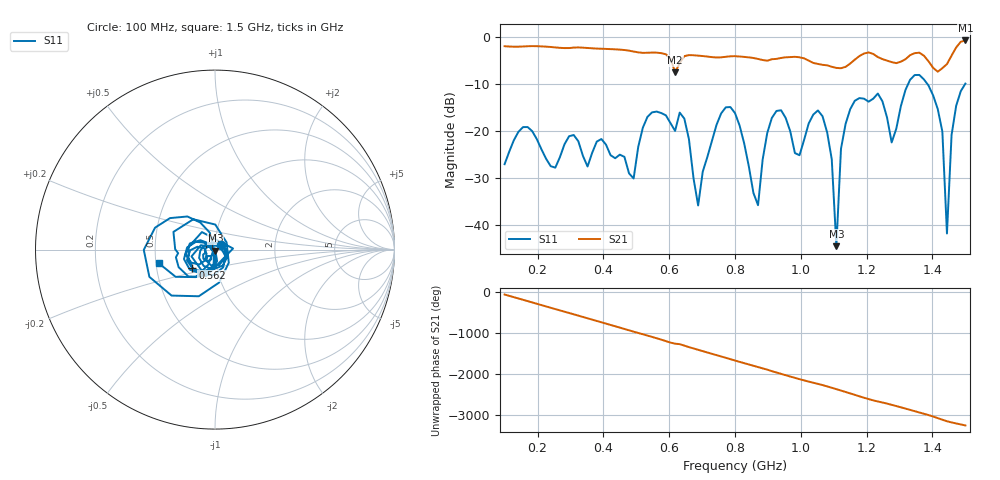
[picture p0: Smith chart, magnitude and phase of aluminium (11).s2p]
! NanoVNA-App
! Date: 2025-09-25 14:55:21
! Start: 100MHz Stop: 1,5GHz Points: 101
! S-Parameter data: F S11 S21 S12 S22
# Hz S RI R 50
!  Frequency  S11_Real  S11_Imag  S21_Real  S21_Imag  S12_Real  S12_Imag  S22_Real  S22_Imag
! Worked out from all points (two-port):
!   101 points, 100 MHz to 1.5 GHz, reference 50 ohm
!   highest |S21| = -0.69 dB at 1.5 GHz (marker M1); lowest = -7.4 dB at 618 MHz (marker M2)
!   |S21| within 3 dB of the highest: start of sweep to 591 MHz; 1.186 GHz to 1.223 GHz (36.58 MHz wide, 3.04 % of centre) (the widest 2 of 4)
!   lowest |S11| = -44.5 dB at 1.108 GHz (marker M3), VSWR 1.01, Z = 50.2 - j0.573 ohm
!   |S11| at or under -10 dB: start of sweep to 1.326 GHz; 1.385 GHz to 1.499 GHz (113.9 MHz wide, 7.9 % of centre)
!   S12 and S22 are empty: the file has one direction only
!   S11 on the Smith chart (normalised r, x): 100 MHz: 1.07, +0.06; 562 MHz: 0.76, -0.16; 1.5 GHz: 0.52, -0.09
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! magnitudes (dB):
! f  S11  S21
! 100 MHz  -27.0  -1.9
! 338 MHz  -25.3  -2.2
! 492 MHz  -30.0  -3.1
! 562 MHz  -15.8  -3.3
! 576 MHz  -16.1  -3.4
! 618 MHz  -19.9  -7.4
! 646 MHz  -17.3  -4.0
! 688 MHz  -35.8  -3.9
! 800 MHz  -16.1  -4.0
! 870 MHz  -35.7  -4.6
! 912 MHz  -17.2  -4.7
! 1.038 GHz  -16.4  -5.5
! 1.08 GHz  -20.3  -6.0
! 1.108 GHz  -44.5  -6.5
! 1.122 GHz  -23.7  -6.6
! 1.15 GHz  -15.3  -5.6
! 1.276 GHz  -22.4  -5.3
! 1.388 GHz  -10.3  -5.1
! 1.43 GHz  -20.1  -6.6
! 1.444 GHz  -41.8  -5.7
! 1.458 GHz  -20.8  -3.9
! 1.5 GHz  -9.9  -0.7
